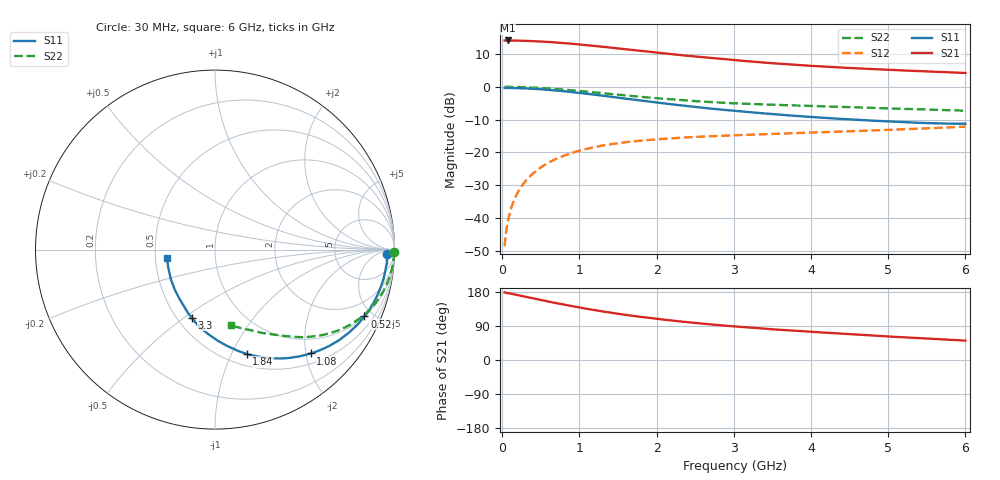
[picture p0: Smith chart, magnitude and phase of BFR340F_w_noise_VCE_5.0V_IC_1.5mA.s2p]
! Infineon Technologies  Discrete & RF Semiconductors
! BFR340F
! VCE =  5.0 V,  IC =  1.5 mA
! Common Emitter S-Parameters:  Nov 2015
# GHz  S  MA  R  50
!  f  S11  S21  S12  S22
! GHz  MAG  ANG  MAG  ANG  MAG  ANG  MAG  ANG
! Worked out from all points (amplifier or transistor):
!   206 points, 30 MHz to 6 GHz, reference 50 ohm
!   highest |S21| = 14.1 dB at 70 MHz (marker M1)
!   |S21| within 3 dB of that: start of sweep to 1.721 GHz
!   unconditionally stable (mu >= 1): 5.245 GHz to end of sweep
!   at 200 MHz: K = 0.05, MSG = 23.2 dB, |S12| = -32.3 dB
!   at 1.56 GHz: K = 0.43, MSG = 14.3 dB, |S12| = -17.0 dB
!   at 6 GHz: K = 1.03, MAG = 7.2 dB, |S12| = -12.2 dB
!   lowest NFmin = 0.73 dB at 450 MHz
!   S11 on the Smith chart (normalised r, x): 30 MHz: 34, -22; 520 MHz: 1.01, -4.47; 1.08 GHz: 0.69, -2.10; 1.84 GHz: 0.62, -1.14; 3.3 GHz: 0.59, -0.53; 6 GHz: 0.57, -0.06
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0.03  0.9594 -1.5  5.084 178.7  0.0037 87.5  0.997 -0.9
0.06  0.9628 -2.9  5.039 176.9  0.0073 87.9  0.9973 -1.9
0.07  0.9592 -3.6  5.085 176.4  0.0088 87.7  0.9973 -2.2
0.13  0.9581 -6.1  5.059 174.4  0.0159 86.1  0.9949 -4.1
0.22  0.9517 -10.4  5.053 170.4  0.0268 83.3  0.9896 -7.0
0.36  0.9367 -16.8  4.995 164.3  0.0432 79.4  0.9765 -11.4
0.52  0.9121 -24.1  4.884 157.6  0.0611 74.9  0.9544 -16.2
0.68  0.8808 -31.1  4.753 150.8  0.0776 70.7  0.9275 -20.7
0.8  0.8556 -36.2  4.632 146.0  0.089 67.8  0.9045 -24.0
1.04  0.7969 -45.8  4.377 137.1  0.1091 62.3  0.8538 -29.9
1.08  0.7872 -47.3  4.332 135.7  0.1121 61.5  0.8453 -30.8
1.26  0.7418 -54.0  4.12 129.5  0.1243 58.0  0.8061 -34.6
1.48  0.6877 -61.7  3.867 122.5  0.1368 54.4  0.7606 -38.8
1.84  0.6075 -73.1  3.474 112.6  0.1525 49.8  0.694 -44.6
2.02  0.5714 -78.2  3.298 108.2  0.1586 48.1  0.6662 -46.9
2.28  0.5256 -85.2  3.063 102.3  0.1661 46.1  0.6305 -50.0
2.58  0.4801 -93.1  2.828 96.2  0.1735 44.4  0.5953 -53.3
3.1  0.4201 -105.0  2.493 87.2  0.1836 42.8  0.5533 -57.9
3.3  0.4005 -108.9  2.385 84.2  0.1871 42.5  0.5423 -59.3
4.1  0.3397 -125.2  2.053 73.2  0.2013 42.7  0.5064 -63.9
5.1  0.2922 -148.3  1.792 61.0  0.2221 44.1  0.4638 -71.1
6  0.2728 -170.3  1.625 51.2  0.2463 45.9  0.4315 -78.3
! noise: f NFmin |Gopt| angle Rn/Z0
0.45  0.73  0.76  4  0.5
0.9  0.74  0.73  13  0.54
1.9  1.08  0.59  24  0.46
2.4  1.18  0.55  34  0.44
